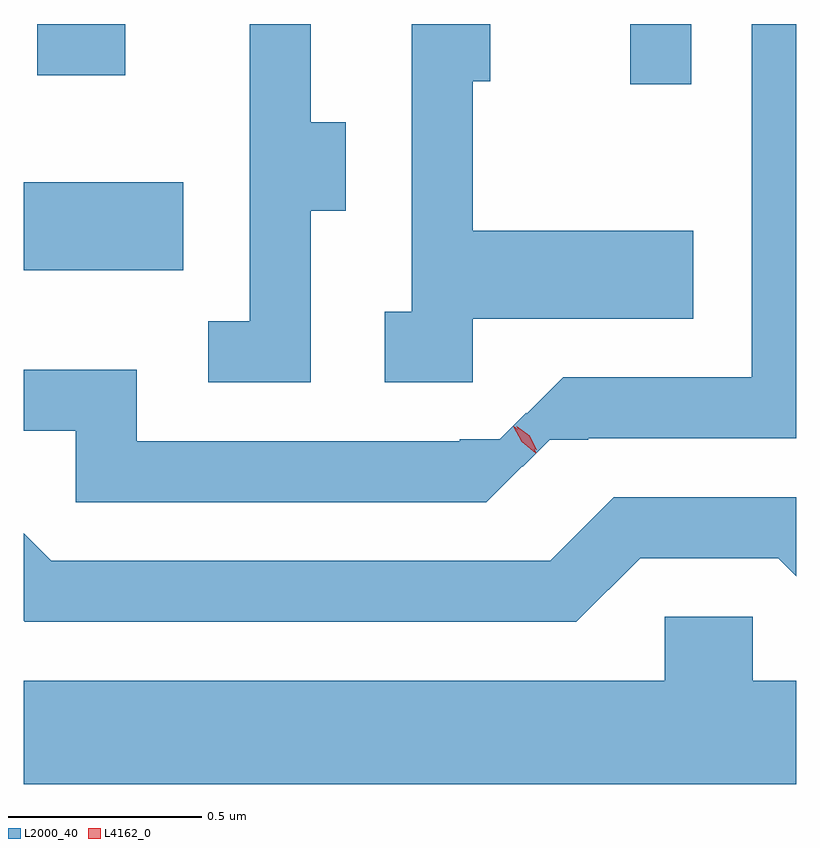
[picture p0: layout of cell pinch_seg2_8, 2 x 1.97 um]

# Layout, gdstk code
import gdstk
lib = gdstk.Library(unit=1e-6, precision=1e-09)
def R(c, l, rs):  # rectangles x0, y0, x1, y1
    for r in rs: c.add(gdstk.rectangle(r[:2], r[2:], *l))
def P(c, l, *ps):  # polygons
    for p in ps: c.add(gdstk.Polygon(p, *l))
L2000_40 = (2000, 40)
L4162_0 = (4162, 0)

pinch_seg2_8 = lib.new_cell('pinch_seg2_8')
R(pinch_seg2_8, L2000_40, [(1876.606,1080.726,1877.019,1080.954), (1878.176,1081.208,1878.334,1081.364), (1876.641,1081.231,1876.869,1081.364)])
P(pinch_seg2_8, L2000_40, [(1877.349,1080.881),(1877.439,1080.881),(1877.439,1081.109),(1877.349,1081.109),(1877.349,1081.364),(1877.191,1081.364),(1877.191,1080.594),(1877.083,1080.594),(1877.083,1080.436),(1877.349,1080.436)],
  [(1877.769,1080.601),(1878.339,1080.601),(1878.339,1080.829),(1877.769,1080.829),(1877.769,1081.216),(1877.814,1081.216),(1877.814,1081.364),(1877.611,1081.364),(1877.611,1080.619),(1877.541,1080.619),(1877.541,1080.436),(1877.769,1080.436)],
  [(1877.897,1080.219),(1877.898,1080.217),(1877.968,1080.287),(1878.068,1080.287),(1878.068,1080.291),(1878.606,1080.291),(1878.606,1081.364),(1878.491,1081.364),(1878.491,1080.449),(1878.003,1080.449),(1877.908,1080.355),(1877.907,1080.357),(1877.839,1080.289),(1877.735,1080.289),(1877.735,1080.284),(1876.899,1080.284),(1876.899,1080.469),(1876.606,1080.469),(1876.606,1080.311),(1876.741,1080.311),(1876.741,1080.126),(1877.804,1080.126)],
  [(1878.202,1079.981),(1878.559,1079.981),(1878.606,1079.934),(1878.606,1080.139),(1878.134,1080.139),(1877.969,1079.974),(1876.677,1079.974),(1876.606,1080.045),(1876.606,1079.819),(1876.609,1079.816),(1878.037,1079.816)],
  [(1878.606,1079.664),(1878.494,1079.664),(1878.494,1079.829),(1878.266,1079.829),(1878.266,1079.664),(1876.606,1079.664),(1876.606,1079.396),(1878.606,1079.396)])
P(pinch_seg2_8, L4162_0, [(1877.932,1080.253),(1877.896,1080.282),(1877.874,1080.322),(1877.874,1080.322),(1877.875,1080.322),(1877.911,1080.294),(1877.933,1080.254),(1877.933,1080.253)],
  [(1877.933,1080.261),(1877.9,1080.285),(1877.882,1080.322),(1877.882,1080.322),(1877.883,1080.322),(1877.916,1080.298),(1877.934,1080.262),(1877.934,1080.261)])

lib.write_gds('pinch_seg2_8.gds')
